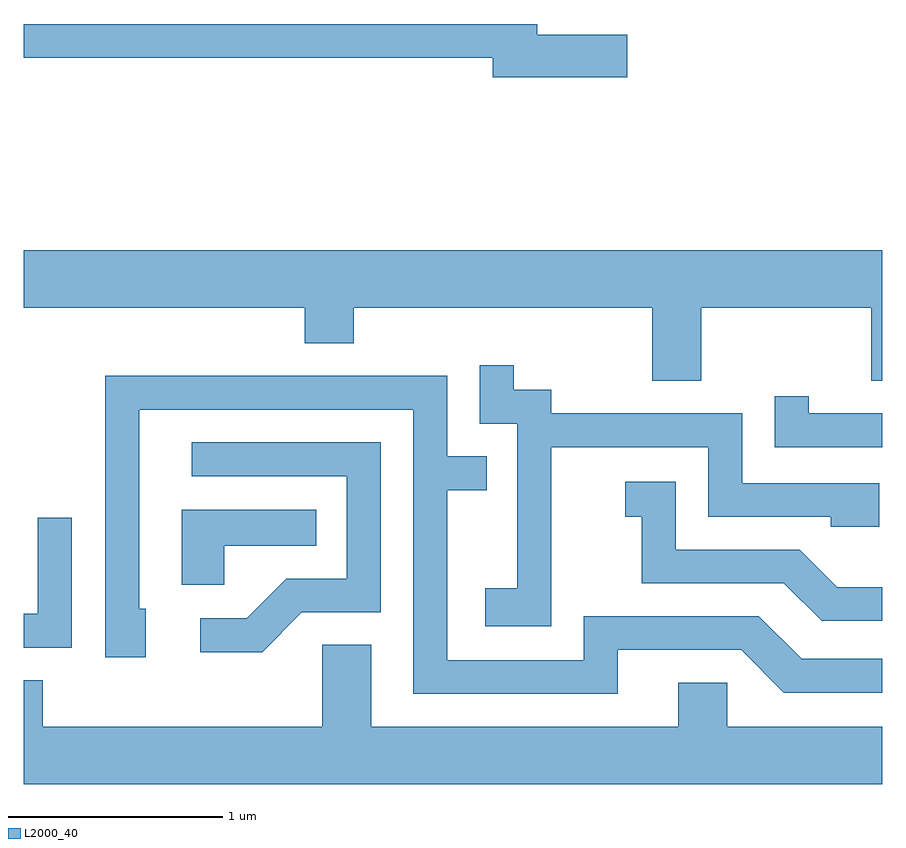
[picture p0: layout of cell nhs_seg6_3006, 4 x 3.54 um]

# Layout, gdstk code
import gdstk
lib = gdstk.Library(unit=1e-6, precision=1e-09)
def P(c, l, *ps):  # polygons
    for p in ps: c.add(gdstk.Polygon(p, *l))
L2000_40 = (2000, 40)

nhs_seg6_3006 = lib.new_cell('nhs_seg6_3006')
P(nhs_seg6_3006, L2000_40, [(278.424,1617.909),(278.004,1617.909),(278.004,1617.959),(275.611,1617.959),(275.611,1617.801),(277.796,1617.801),(277.796,1617.711),(278.424,1617.711)],
  [(278.769,1616.636),(279.561,1616.636),(279.561,1616.296),(279.611,1616.296),(279.611,1616.904),(275.611,1616.904),(275.611,1616.636),(276.921,1616.636),(276.921,1616.471),(277.149,1616.471),(277.149,1616.636),(278.541,1616.636),(278.541,1616.296),(278.769,1616.296)],
  [(278.069,1615.986),(278.801,1615.986),(278.801,1615.661),(279.371,1615.661),(279.371,1615.616),(279.599,1615.616),(279.599,1615.819),(278.959,1615.819),(278.959,1616.144),(278.069,1616.144),(278.069,1616.254),(277.894,1616.254),(277.894,1616.368),(277.736,1616.368),(277.736,1616.096),(277.911,1616.096),(277.911,1615.329),(277.761,1615.329),(277.761,1615.151),(278.069,1615.151)],
  [(278.379,1615.041),(278.954,1615.041),(279.154,1614.841),(279.611,1614.841),(279.611,1614.999),(279.237,1614.999),(279.037,1615.199),(278.221,1615.199),(278.221,1614.994),(277.584,1614.994),(277.584,1615.786),(277.768,1615.786),(277.768,1615.944),(277.584,1615.944),(277.584,1616.319),(275.991,1616.319),(275.991,1615.006),(276.179,1615.006),(276.179,1615.234),(276.149,1615.234),(276.149,1616.161),(277.426,1616.161),(277.426,1614.836),(278.379,1614.836)],
  [(279.611,1616.144),(279.269,1616.144),(279.269,1616.223),(279.111,1616.223),(279.111,1615.986),(279.611,1615.986)],
  [(276.907,1615.216),(277.274,1615.216),(277.274,1616.009),(276.393,1616.009),(276.393,1615.851),(277.116,1615.851),(277.116,1615.374),(276.834,1615.374),(276.649,1615.189),(276.433,1615.189),(276.433,1615.031),(276.722,1615.031)],
  [(279.611,1615.334),(279.402,1615.334),(279.227,1615.509),(278.649,1615.509),(278.649,1615.824),(278.413,1615.824),(278.413,1615.661),(278.491,1615.661),(278.491,1615.351),(279.154,1615.351),(279.329,1615.176),(279.611,1615.176)],
  [(276.544,1615.526),(276.973,1615.526),(276.973,1615.694),(276.346,1615.694),(276.346,1615.346),(276.544,1615.346)],
  [(275.834,1615.658),(275.676,1615.658),(275.676,1615.209),(275.611,1615.209),(275.611,1615.051),(275.834,1615.051)],
  [(279.611,1614.684),(278.889,1614.684),(278.889,1614.889),(278.661,1614.889),(278.661,1614.684),(277.229,1614.684),(277.229,1615.064),(277.001,1615.064),(277.001,1614.684),(275.699,1614.684),(275.699,1614.899),(275.611,1614.899),(275.611,1614.416),(279.611,1614.416)])

lib.write_gds('nhs_seg6_3006.gds')
